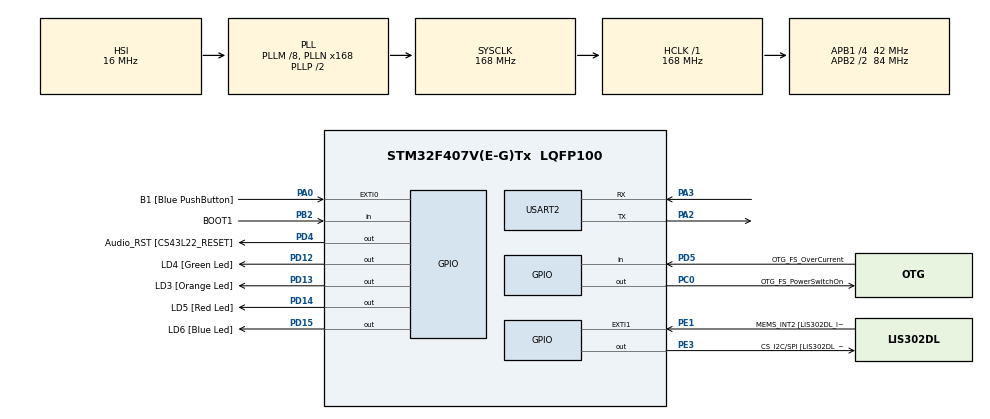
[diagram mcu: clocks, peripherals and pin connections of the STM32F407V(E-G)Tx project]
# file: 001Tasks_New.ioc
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Mcu.Family=STM32F4
Mcu.Name=STM32F407V(E-G)Tx
Mcu.Package=LQFP100
NVIC.PriorityGroup=NVIC_PRIORITYGROUP_4
NVIC.TIM6_DAC_IRQn=true\:0\:0\:false\:false\:true\:false\:true\:true
NVIC.TimeBase=TIM6_DAC_IRQn
NVIC.TimeBaseIP=TIM6
PA0-WKUP.GPIO_Label=B1 [Blue PushButton]
PA0-WKUP.Signal=GPXTI0
PA10.GPIO_Label=OTG_FS_ID
PA10.GPIO_Mode=GPIO_MODE_AF_PP
PA10.GPIO_PuPd=GPIO_NOPULL
PA10.GPIO_Speed=GPIO_SPEED_FREQ_LOW
PA10.Signal=USB_OTG_FS_ID
PA11.GPIO_Label=OTG_FS_DM
PA11.GPIO_Mode=GPIO_MODE_AF_PP
PA11.GPIO_PuPd=GPIO_NOPULL
PA11.GPIO_Speed=GPIO_SPEED_FREQ_LOW
PA11.Signal=USB_OTG_FS_DM
PA12.GPIO_Label=OTG_FS_DP
PA12.GPIO_Mode=GPIO_MODE_AF_PP
PA12.GPIO_PuPd=GPIO_NOPULL
PA12.GPIO_Speed=GPIO_SPEED_FREQ_LOW
PA12.Signal=USB_OTG_FS_DP
PA13.GPIO_Label=SWDIO
PA13.Signal=SYS_JTMS-SWDIO
PA14.GPIO_Label=SWCLK
PA14.Signal=SYS_JTCK-SWCLK
PA2.Mode=Asynchronous
PA2.Signal=USART2_TX
PA3.Mode=Asynchronous
PA3.Signal=USART2_RX
PA4.GPIO_Label=I2S3_WS [CS43L22_LRCK]
PA4.GPIO_Mode=GPIO_MODE_AF_PP
PA4.GPIO_PuPd=GPIO_NOPULL
PA4.GPIO_Speed=GPIO_SPEED_FREQ_LOW
PA4.Signal=I2S3_WS
PA5.GPIO_Label=SPI1_SCK [LIS302DL_SCL/SPC]
PA5.GPIO_Mode=GPIO_MODE_AF_PP
PA5.GPIO_PuPd=GPIO_NOPULL
PA5.GPIO_Speed=GPIO_SPEED_FREQ_LOW
PA5.Signal=SPI1_SCK
PA6.GPIO_Label=SPI1_MISO [LIS302DL_SDO]
PA6.GPIO_Mode=GPIO_MODE_AF_PP
PA6.GPIO_PuPd=GPIO_NOPULL
PA6.GPIO_Speed=GPIO_SPEED_FREQ_LOW
PA6.Signal=SPI1_MISO
PA7.GPIO_Label=SPI1_MOSI [LIS302DL_SDA/SDI/SDO]
PA7.GPIO_Mode=GPIO_MODE_AF_PP
PA7.GPIO_PuPd=GPIO_NOPULL
PA7.GPIO_Speed=GPIO_SPEED_FREQ_LOW
PA7.Signal=SPI1_MOSI
PA9.GPIO_Label=VBUS_FS
PA9.GPIO_Mode=GPIO_MODE_INPUT
PA9.GPIO_PuPd=GPIO_NOPULL
PA9.Signal=USB_OTG_FS_VBUS
PB10.GPIO_Label=CLK_IN [MP45DT02_CLK]
PB10.GPIO_Mode=GPIO_MODE_AF_PP
PB10.GPIO_PuPd=GPIO_NOPULL
PB10.GPIO_Speed=GPIO_SPEED_FREQ_LOW
PB10.Signal=I2S2_CK
PB2.GPIO_Label=BOOT1
PB2.GPIO_Mode=GPIO_MODE_INPUT
PB2.GPIO_PuPd=GPIO_NOPULL
PB2.Signal=GPIO_Input
PB3.GPIO_Label=SWO
PB3.Signal=SYS_JTDO-SWO
PB6.GPIO_Label=Audio_SCL [CS43L22_SCL]
PB6.GPIO_Mode=GPIO_MODE_AF_OD
PB6.GPIO_PuPd=GPIO_NOPULL
PB6.GPIO_Speed=GPIO_SPEED_FREQ_LOW
PB6.Signal=I2C1_SCL
PB9.GPIO_Label=Audio_SDA [CS43L22_SDA]
PB9.GPIO_Mode=GPIO_MODE_AF_OD
PB9.GPIO_PuPd=GPIO_NOPULL
PB9.GPIO_Speed=GPIO_SPEED_FREQ_LOW
PB9.Signal=I2C1_SDA
PC0.GPIO_Label=OTG_FS_PowerSwitchOn
PC0.GPIO_PuPd=GPIO_NOPULL
PC0.GPIO_Speed=GPIO_SPEED_FREQ_LOW
PC0.PinState=GPIO_PIN_SET
PC0.Signal=GPIO_Output
PC10.GPIO_Label=I2S3_SCK [CS43L22_SCLK]
PC10.GPIO_Mode=GPIO_MODE_AF_PP
PC10.GPIO_PuPd=GPIO_NOPULL
PC10.GPIO_Speed=GPIO_SPEED_FREQ_LOW
PC10.Signal=I2S3_CK
PC12.GPIO_Label=I2S3_SD [CS43L22_SDIN]
PC12.GPIO_Mode=GPIO_MODE_AF_PP
PC12.GPIO_PuPd=GPIO_NOPULL
PC12.GPIO_Speed=GPIO_SPEED_FREQ_LOW
PC12.Signal=I2S3_SD
PC14-OSC32_IN.GPIO_Label=PC14-OSC32_IN
PC14-OSC32_IN.Signal=RCC_OSC32_IN
PC15-OSC32_OUT.GPIO_Label=PC15-OSC32_OUT
PC15-OSC32_OUT.Signal=RCC_OSC32_OUT
PC3.GPIO_Label=PDM_OUT [MP45DT02_DOUT]
PC3.GPIO_Mode=GPIO_MODE_AF_PP
PC3.GPIO_PuPd=GPIO_NOPULL
PC3.GPIO_Speed=GPIO_SPEED_FREQ_LOW
PC3.Signal=I2S2_SD
PC7.GPIO_Label=I2S3_MCK [CS43L22_MCLK]
PC7.GPIO_Mode=GPIO_MODE_AF_PP
PC7.GPIO_PuPd=GPIO_NOPULL
PC7.GPIO_Speed=GPIO_SPEED_FREQ_LOW
PC7.Signal=I2S3_MCK
PD12.GPIO_Label=LD4 [Green Led]
PD12.GPIO_PuPd=GPIO_NOPULL
PD12.GPIO_Speed=GPIO_SPEED_FREQ_LOW
PD12.Signal=GPIO_Output
PD13.GPIO_Label=LD3 [Orange Led]
PD13.GPIO_PuPd=GPIO_NOPULL
PD13.GPIO_Speed=GPIO_SPEED_FREQ_LOW
PD13.Signal=GPIO_Output
PD14.GPIO_Label=LD5 [Red Led]
PD14.GPIO_PuPd=GPIO_NOPULL
PD14.GPIO_Speed=GPIO_SPEED_FREQ_LOW
PD14.Signal=GPIO_Output
PD15.GPIO_Label=LD6 [Blue Led]
PD15.GPIO_PuPd=GPIO_NOPULL
PD15.GPIO_Speed=GPIO_SPEED_FREQ_LOW
PD15.Signal=GPIO_Output
PD4.GPIO_Label=Audio_RST [CS43L22_RESET]
PD4.GPIO_PuPd=GPIO_NOPULL
PD4.GPIO_Speed=GPIO_SPEED_FREQ_LOW
PD4.Signal=GPIO_Output
PD5.GPIO_Label=OTG_FS_OverCurrent
PD5.GPIO_Mode=GPIO_MODE_INPUT
PD5.GPIO_PuPd=GPIO_NOPULL
PD5.Signal=GPIO_Input
PE1.GPIO_Label=MEMS_INT2 [LIS302DL_INT2]
PE1.GPIO_ModeDefaultEXTI=GPIO_MODE_EVT_RISING
PE1.GPIO_PuPd=GPIO_NOPULL
PE1.Signal=GPXTI1
PE3.GPIO_Label=CS_I2C/SPI [LIS302DL_CS_I2C/SPI]
PE3.GPIO_PuPd=GPIO_NOPULL
PE3.GPIO_Speed=GPIO_SPEED_FREQ_LOW
PE3.Signal=GPIO_Output
PH0-OSC_IN.GPIO_Label=PH0-OSC_IN
PH0-OSC_IN.Signal=RCC_OSC_IN
PH1-OSC_OUT.GPIO_Label=PH1-OSC_OUT
PH1-OSC_OUT.Signal=RCC_OSC_OUT
ProjectManager.HeapSize=0x200
ProjectManager.StackSize=0x400
ProjectManager.TargetToolchain=STM32CubeIDE
RCC.48MHZClocksFreq_Value=48000000
RCC.AHBFreq_Value=168000000
RCC.APB1CLKDivider=RCC_HCLK_DIV4
RCC.APB1Freq_Value=42000000
RCC.APB1TimFreq_Value=84000000
RCC.APB2CLKDivider=RCC_HCLK_DIV2
RCC.APB2Freq_Value=84000000
RCC.APB2TimFreq_Value=168000000
RCC.CortexFreq_Value=168000000
RCC.HCLKFreq_Value=168000000
RCC.HSE_VALUE=8000000
RCC.HSI_VALUE=16000000
RCC.LSE_VALUE=32768
RCC.PLLM=8
RCC.PLLN=168
RCC.PLLQ=7
RCC.SYSCLKFreq_VALUE=168000000
RCC.SYSCLKSource=RCC_SYSCLKSOURCE_PLLCLK
RCC.VCOOutputFreq_Value=336000000
USART2.VirtualMode=VM_ASYNC
VP_SYS_VS_tim6.Mode=TIM6
board=STM32F407G-DISC1

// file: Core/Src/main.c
/* USER CODE BEGIN Header */
/**
 ******************************************************************************
 * @file           : main.c
 * @brief          : Main program body
 ******************************************************************************
 * @attention
 *
 * Copyright (c) 2024 STMicroelectronics.
 * All rights reserved.
 *
 * This software is licensed under terms that can be found in the LICENSE file
 * in the root directory of this software component.
 * If no LICENSE file comes with this software, it is provided AS-IS.
 *
 ******************************************************************************
 */
/* USER CODE END Header */
#include "main.h"

/* USER CODE BEGIN Includes */
#include "FreeRTOS.h"
#include "task.h"
#include "queue.h"
#include "semphr.h"
#include "stdlib.h"
#include "string.h"
#include<stdio.h>
#include<stdint.h>
/* USER CODE END Includes */

/* USER CODE BEGIN PM */
#define TASK1	0
#define TASK2	0

/* USER CODE END PM */

UART_HandleTypeDef huart2;

/* USER CODE BEGIN PV */
#define DWT_CTRL ( *(volatile uint32_t*)0XE0001000 )
/* USER CODE END PV */

void SystemClock_Config(void);
static void MX_GPIO_Init(void);
static void MX_USART2_UART_Init(void);
/* USER CODE BEGIN PFP */
#if 0
static void task1_handler(void *parameter);
static void task2_handler(void *parameter);
# endif

# if TASK1
void xManagerTask(void* param);
void xEmployeeTask(void* param);
void employee_do_work(uint8_t ticket_id);

#endif

#if TASK2
void vHandlerTask(void* param);
void vPeriodicTask(void*param);
#endif
/* USER CODE END PFP */

/* USER CODE BEGIN 0 */
#if TASK1

xSemaphoreHandle xWork;
xQueueHandle xWorkQueue;

TaskHandle_t xTaskHandleM;
TaskHandle_t xTaskHandleE;

char usr_msg[250] = {0};
#endif

#if TASK2
char usr_msg[250] = {0};
TaskHandle_t xTaskHandleH;
TaskHandle_t xTaskHandleP;
xSemaphoreHandle xCountingSemaphore;
#endif

/* USER CODE END 0 */

int main(void)
{
  /* USER CODE BEGIN 1 */
	extern void SEGGER_UART_init(uint32_t);
#if 0
	TaskHandle_t task1_handle;
	TaskHandle_t task2_handle;
	BaseType_t status;
#endif
  /* USER CODE END 1 */

  /* MCU Configuration--------------------------------------------------------*/

  /* Reset of all peripherals, Initializes the Flash interface and the Systick. */
  HAL_Init();

  /* Configure the system clock */
  SystemClock_Config();

  /* Initialize all configured peripherals */
  MX_GPIO_Init();
  MX_USART2_UART_Init();
  /* USER CODE BEGIN 2 */
	DWT_CTRL |= (1 << 0);

//	SEGGER_UART_init(500000);

	//SEGGER_SYSVIEW_Conf();

	//SEGGER_SYSVIEW_Start();

#if TASK1
	sprintf(usr_msg, "Demo of Binary semaphore usage between 2 Tasks \r\n");
	HAL_UART_Transmit(&huart2, (uint8_t*)usr_msg, sizeof(usr_msg), HAL_MAX_DELAY);

	vSemaphoreCreateBinary(xWork);

	xWorkQueue = xQueueCreate(1, sizeof(unsigned int));

	if(xWork != NULL && xWorkQueue != NULL)
	{
		xTaskCreate(xManagerTask, "Manager", 500, NULL, 2, &xTaskHandleM);
		xTaskCreate(xEmployeeTask, "Employee", 500, NULL, 2, &xTaskHandleE);

		//start the scheduler
		vTaskStartScheduler();

		sprintf(usr_msg,"Queue/Sema create failed.. \r\n");
		HAL_UART_Transmit(&huart2, (uint8_t*)usr_msg, sizeof(usr_msg), HAL_MAX_DELAY);
	}
#endif

#if TASK2
	sprintf(usr_msg, "Demo of usage of counting semaphore\r\n");
	HAL_UART_Transmit(&huart2, (uint8_t*)usr_msg, sizeof(usr_msg), HAL_MAX_DELAY);

	xCountingSemaphore = xSemaphoreCreateCounting(10,0);

	if(xCountingSemaphore != NULL)
	{
		NVIC_SetPriority( EXTI15_10_IRQn, configLIBRARY_MAX_SYSCALL_INTERRUPT_PRIORITY );

		/* Enable the interrupt. */
		NVIC_EnableIRQ( EXTI15_10_IRQn );

		xTaskCreate(vPeriodicTask, "Periodic Task", 500, NULL, 3, NULL);

		xTaskCreate(vHandlerTask, "Handler Task", 500, NULL, 1, NULL);

		//start the scheduler
		vTaskStartScheduler();

	}
#endif
#if 0
	status = xTaskCreate(task1_handler, "Task-1", 200,"Hello World from Task-1", 2, &task1_handle);
	configASSERT(status == pdPASS);

	status = xTaskCreate(task2_handler, "Task-2", 200,"Hello World from Task-2", 2, &task2_handle);
	configASSERT(status == pdPASS);
# endif

  /* USER CODE END 2 */

  /* Infinite loop */
	while (1) {

	}
}

void SystemClock_Config(void)
{
  RCC_OscInitTypeDef RCC_OscInitStruct = {0};
  RCC_ClkInitTypeDef RCC_ClkInitStruct = {0};

  /** Configure the main internal regulator output voltage
  */
  __HAL_RCC_PWR_CLK_ENABLE();
  __HAL_PWR_VOLTAGESCALING_CONFIG(PWR_REGULATOR_VOLTAGE_SCALE1);

  /** Initializes the RCC Oscillators according to the specified parameters
  * in the RCC_OscInitTypeDef structure.
  */
  RCC_OscInitStruct.OscillatorType = RCC_OSCILLATORTYPE_HSI;
  RCC_OscInitStruct.HSIState = RCC_HSI_ON;
  RCC_OscInitStruct.HSICalibrationValue = RCC_HSICALIBRATION_DEFAULT;
  RCC_OscInitStruct.PLL.PLLState = RCC_PLL_ON;
  RCC_OscInitStruct.PLL.PLLSource = RCC_PLLSOURCE_HSI;
  RCC_OscInitStruct.PLL.PLLM = 8;
  RCC_OscInitStruct.PLL.PLLN = 168;
  RCC_OscInitStruct.PLL.PLLP = RCC_PLLP_DIV2;
  RCC_OscInitStruct.PLL.PLLQ = 7;
  if (HAL_RCC_OscConfig(&RCC_OscInitStruct) != HAL_OK)
  {
    Error_Handler();
  }

  /** Initializes the CPU, AHB and APB buses clocks
  */
  RCC_ClkInitStruct.ClockType = RCC_CLOCKTYPE_HCLK|RCC_CLOCKTYPE_SYSCLK
                              |RCC_CLOCKTYPE_PCLK1|RCC_CLOCKTYPE_PCLK2;
  RCC_ClkInitStruct.SYSCLKSource = RCC_SYSCLKSOURCE_PLLCLK;
  RCC_ClkInitStruct.AHBCLKDivider = RCC_SYSCLK_DIV1;
  RCC_ClkInitStruct.APB1CLKDivider = RCC_HCLK_DIV4;
  RCC_ClkInitStruct.APB2CLKDivider = RCC_HCLK_DIV2;

  if (HAL_RCC_ClockConfig(&RCC_ClkInitStruct, FLASH_LATENCY_5) != HAL_OK)
  {
    Error_Handler();
  }
}

static void MX_USART2_UART_Init(void)
{

  huart2.Instance = USART2;
  huart2.Init.BaudRate = 115200;
  huart2.Init.WordLength = UART_WORDLENGTH_8B;
  huart2.Init.StopBits = UART_STOPBITS_1;
  huart2.Init.Parity = UART_PARITY_NONE;
  huart2.Init.Mode = UART_MODE_TX_RX;
  huart2.Init.HwFlowCtl = UART_HWCONTROL_NONE;
  huart2.Init.OverSampling = UART_OVERSAMPLING_16;
  if (HAL_UART_Init(&huart2) != HAL_OK)
  {
    Error_Handler();
  }

}

static void MX_GPIO_Init(void)
{
  GPIO_InitTypeDef GPIO_InitStruct = {0};

  /* GPIO Ports Clock Enable */
  __HAL_RCC_GPIOE_CLK_ENABLE();
  __HAL_RCC_GPIOC_CLK_ENABLE();
  __HAL_RCC_GPIOH_CLK_ENABLE();
  __HAL_RCC_GPIOA_CLK_ENABLE();
  __HAL_RCC_GPIOB_CLK_ENABLE();
  __HAL_RCC_GPIOD_CLK_ENABLE();

  /*Configure GPIO pin Output Level */
  HAL_GPIO_WritePin(CS_I2C_SPI_GPIO_Port, CS_I2C_SPI_Pin, GPIO_PIN_RESET);

  /*Configure GPIO pin Output Level */
  HAL_GPIO_WritePin(OTG_FS_PowerSwitchOn_GPIO_Port, OTG_FS_PowerSwitchOn_Pin, GPIO_PIN_SET);

  /*Configure GPIO pin Output Level */
  HAL_GPIO_WritePin(GPIOD, LD4_Pin|LD3_Pin|LD5_Pin|LD6_Pin
                          |Audio_RST_Pin, GPIO_PIN_RESET);

  /*Configure GPIO pin : CS_I2C_SPI_Pin */
  GPIO_InitStruct.Pin = CS_I2C_SPI_Pin;
  GPIO_InitStruct.Mode = GPIO_MODE_OUTPUT_PP;
  GPIO_InitStruct.Pull = GPIO_NOPULL;
  GPIO_InitStruct.Speed = GPIO_SPEED_FREQ_LOW;
  HAL_GPIO_Init(CS_I2C_SPI_GPIO_Port, &GPIO_InitStruct);

  /*Configure GPIO pin : OTG_FS_PowerSwitchOn_Pin */
  GPIO_InitStruct.Pin = OTG_FS_PowerSwitchOn_Pin;
  GPIO_InitStruct.Mode = GPIO_MODE_OUTPUT_PP;
  GPIO_InitStruct.Pull = GPIO_NOPULL;
  GPIO_InitStruct.Speed = GPIO_SPEED_FREQ_LOW;
  HAL_GPIO_Init(OTG_FS_PowerSwitchOn_GPIO_Port, &GPIO_InitStruct);

  /*Configure GPIO pin : PDM_OUT_Pin */
  GPIO_InitStruct.Pin = PDM_OUT_Pin;
  GPIO_InitStruct.Mode = GPIO_MODE_AF_PP;
  GPIO_InitStruct.Pull = GPIO_NOPULL;
  GPIO_InitStruct.Speed = GPIO_SPEED_FREQ_LOW;
  GPIO_InitStruct.Alternate = GPIO_AF5_SPI2;
  HAL_GPIO_Init(PDM_OUT_GPIO_Port, &GPIO_InitStruct);

  /*Configure GPIO pin : B1_Pin */
  GPIO_InitStruct.Pin = B1_Pin;
  GPIO_InitStruct.Mode = GPIO_MODE_IT_RISING;
  GPIO_InitStruct.Pull = GPIO_NOPULL;
  HAL_GPIO_Init(B1_GPIO_Port, &GPIO_InitStruct);

  /*Configure GPIO pin : I2S3_WS_Pin */
  GPIO_InitStruct.Pin = I2S3_WS_Pin;
  GPIO_InitStruct.Mode = GPIO_MODE_AF_PP;
  GPIO_InitStruct.Pull = GPIO_NOPULL;
  GPIO_InitStruct.Speed = GPIO_SPEED_FREQ_LOW;
  GPIO_InitStruct.Alternate = GPIO_AF6_SPI3;
  HAL_GPIO_Init(I2S3_WS_GPIO_Port, &GPIO_InitStruct);

  /*Configure GPIO pins : SPI1_SCK_Pin SPI1_MISO_Pin SPI1_MOSI_Pin */
  GPIO_InitStruct.Pin = SPI1_SCK_Pin|SPI1_MISO_Pin|SPI1_MOSI_Pin;
  GPIO_InitStruct.Mode = GPIO_MODE_AF_PP;
  GPIO_InitStruct.Pull = GPIO_NOPULL;
  GPIO_InitStruct.Speed = GPIO_SPEED_FREQ_LOW;
  GPIO_InitStruct.Alternate = GPIO_AF5_SPI1;
  HAL_GPIO_Init(GPIOA, &GPIO_InitStruct);

  /*Configure GPIO pin : BOOT1_Pin */
  GPIO_InitStruct.Pin = BOOT1_Pin;
  GPIO_InitStruct.Mode = GPIO_MODE_INPUT;
  GPIO_InitStruct.Pull = GPIO_NOPULL;
  HAL_GPIO_Init(BOOT1_GPIO_Port, &GPIO_InitStruct);

  /*Configure GPIO pin : CLK_IN_Pin */
  GPIO_InitStruct.Pin = CLK_IN_Pin;
  GPIO_InitStruct.Mode = GPIO_MODE_AF_PP;
  GPIO_InitStruct.Pull = GPIO_NOPULL;
  GPIO_InitStruct.Speed = GPIO_SPEED_FREQ_LOW;
  GPIO_InitStruct.Alternate = GPIO_AF5_SPI2;
  HAL_GPIO_Init(CLK_IN_GPIO_Port, &GPIO_InitStruct);

  /*Configure GPIO pins : LD4_Pin LD3_Pin LD5_Pin LD6_Pin
                           Audio_RST_Pin */
  GPIO_InitStruct.Pin = LD4_Pin|LD3_Pin|LD5_Pin|LD6_Pin
                          |Audio_RST_Pin;
  GPIO_InitStruct.Mode = GPIO_MODE_OUTPUT_PP;
  GPIO_InitStruct.Pull = GPIO_NOPULL;
  GPIO_InitStruct.Speed = GPIO_SPEED_FREQ_LOW;
  HAL_GPIO_Init(GPIOD, &GPIO_InitStruct);

  /*Configure GPIO pins : I2S3_MCK_Pin I2S3_SCK_Pin I2S3_SD_Pin */
  GPIO_InitStruct.Pin = I2S3_MCK_Pin|I2S3_SCK_Pin|I2S3_SD_Pin;
  GPIO_InitStruct.Mode = GPIO_MODE_AF_PP;
  GPIO_InitStruct.Pull = GPIO_NOPULL;
  GPIO_InitStruct.Speed = GPIO_SPEED_FREQ_LOW;
  GPIO_InitStruct.Alternate = GPIO_AF6_SPI3;
  HAL_GPIO_Init(GPIOC, &GPIO_InitStruct);

  /*Configure GPIO pin : VBUS_FS_Pin */
  GPIO_InitStruct.Pin = VBUS_FS_Pin;
  GPIO_InitStruct.Mode = GPIO_MODE_INPUT;
  GPIO_InitStruct.Pull = GPIO_NOPULL;
  HAL_GPIO_Init(VBUS_FS_GPIO_Port, &GPIO_InitStruct);

  /*Configure GPIO pins : OTG_FS_ID_Pin OTG_FS_DM_Pin OTG_FS_DP_Pin */
  GPIO_InitStruct.Pin = OTG_FS_ID_Pin|OTG_FS_DM_Pin|OTG_FS_DP_Pin;
  GPIO_InitStruct.Mode = GPIO_MODE_AF_PP;
  GPIO_InitStruct.Pull = GPIO_NOPULL;
  GPIO_InitStruct.Speed = GPIO_SPEED_FREQ_LOW;
  GPIO_InitStruct.Alternate = GPIO_AF10_OTG_FS;
  HAL_GPIO_Init(GPIOA, &GPIO_InitStruct);

  /*Configure GPIO pin : OTG_FS_OverCurrent_Pin */
  GPIO_InitStruct.Pin = OTG_FS_OverCurrent_Pin;
  GPIO_InitStruct.Mode = GPIO_MODE_INPUT;
  GPIO_InitStruct.Pull = GPIO_NOPULL;
  HAL_GPIO_Init(OTG_FS_OverCurrent_GPIO_Port, &GPIO_InitStruct);

  /*Configure GPIO pins : Audio_SCL_Pin Audio_SDA_Pin */
  GPIO_InitStruct.Pin = Audio_SCL_Pin|Audio_SDA_Pin;
  GPIO_InitStruct.Mode = GPIO_MODE_AF_OD;
  GPIO_InitStruct.Pull = GPIO_NOPULL;
  GPIO_InitStruct.Speed = GPIO_SPEED_FREQ_LOW;
  GPIO_InitStruct.Alternate = GPIO_AF4_I2C1;
  HAL_GPIO_Init(GPIOB, &GPIO_InitStruct);

  /*Configure GPIO pin : MEMS_INT2_Pin */
  GPIO_InitStruct.Pin = MEMS_INT2_Pin;
  GPIO_InitStruct.Mode = GPIO_MODE_EVT_RISING;
  GPIO_InitStruct.Pull = GPIO_NOPULL;
  HAL_GPIO_Init(MEMS_INT2_GPIO_Port, &GPIO_InitStruct);

}

/* USER CODE BEGIN 4 */

#if 0
static void task1_handler(void* parameter)
{
	char msg[100];
	while(1)
	{
		//printf("%s\n" , (char*) parameter);
		snprintf(msg,100, "%s\n" , (char*) parameter);
		SEGGER_SYSVIEW_PrintfTarget(msg);
		taskYIELD();
	}

}

static void task2_handler(void* parameter)
{
	char msg[100];
	while(1)
	{
		//printf("%s\n" , (char*) parameter);
		snprintf(msg,100, "%s\n" , (char*) parameter);
		SEGGER_SYSVIEW_PrintfTarget(msg);
		taskYIELD();
	}

}
# endif

#if TASK1
void xManagerTask(void* param)
{
	uint8_t ticketID;

	xSemaphoreGive(xWork);

	while(1)
	{
		xSemaphoreTake(xWork, portMAX_DELAY);

		ticketID = (rand() & 0xFF);

		xQueueSend(xWorkQueue,&ticketID,portMAX_DELAY);
		xSemaphoreGive(xWork);
		taskYIELD();
	}
	vTaskDelete(NULL);
}

void xEmployeeTask(void* param)
{
	uint8_t ticketID;

	portBASE_TYPE status;

	while(1)
	{
		xSemaphoreTake(xWork, portMAX_DELAY);
		status = xQueueReceive(xWorkQueue, &ticketID, 0);

		if(status != pdPASS)
		{
			sprintf(usr_msg,"Empty Queue, nothing to do.. \r\n");
			HAL_UART_Transmit(&huart2, (uint8_t*)usr_msg, sizeof(usr_msg), HAL_MAX_DELAY);
		}
		else{
			employee_do_work(ticketID);
		}

		xSemaphoreGive(xWork);
		taskYIELD();
	}

	vTaskDelete(NULL);
}

void employee_do_work(uint8_t ticket_id)
{
	char msg [50];

	sprintf(msg, "Working on Ticket ID : %d\r\n",ticket_id);
	HAL_UART_Transmit(&huart2, (uint8_t*)msg, sizeof(msg), HAL_MAX_DELAY);
	vTaskDelay(ticket_id);
}
#endif

#if TASK2
void vPeriodicTask(void* param)
{
	while(1)
	{
		vTaskDelay(pdMS_TO_TICKS(500));

		sprintf(usr_msg, "Periodic task - Pending the interrupt.\r\n" );
		HAL_UART_Transmit(&huart2, (uint8_t*)usr_msg, sizeof(usr_msg), HAL_MAX_DELAY);

		//pend the interrupt
		NVIC_SetPendingIRQ(EXTI15_10_IRQn);

		//does the interrupt trigger immediately or does the task follow through
		//to completion?

		sprintf(usr_msg, "Periodic task - Resuming.\r\n" );
		HAL_UART_Transmit(&huart2, (uint8_t*)usr_msg, sizeof(usr_msg), HAL_MAX_DELAY);
	}

}

void vHandlerTask(void* param)
{
	while(1)
	{
		xSemaphoreTake(xCountingSemaphore, portMAX_DELAY);

		sprintf(usr_msg, "Handler task - Processing event.\r\n");
		HAL_UART_Transmit(&huart2, (uint8_t*)usr_msg, sizeof(usr_msg), HAL_MAX_DELAY);
	}

}
#endif

/* USER CODE END 4 */

void HAL_TIM_PeriodElapsedCallback(TIM_HandleTypeDef *htim)
{
  if (htim->Instance == TIM6) {
    HAL_IncTick();
  }
}

void Error_Handler(void)
{
	__disable_irq();
	while (1) {
	}
}
